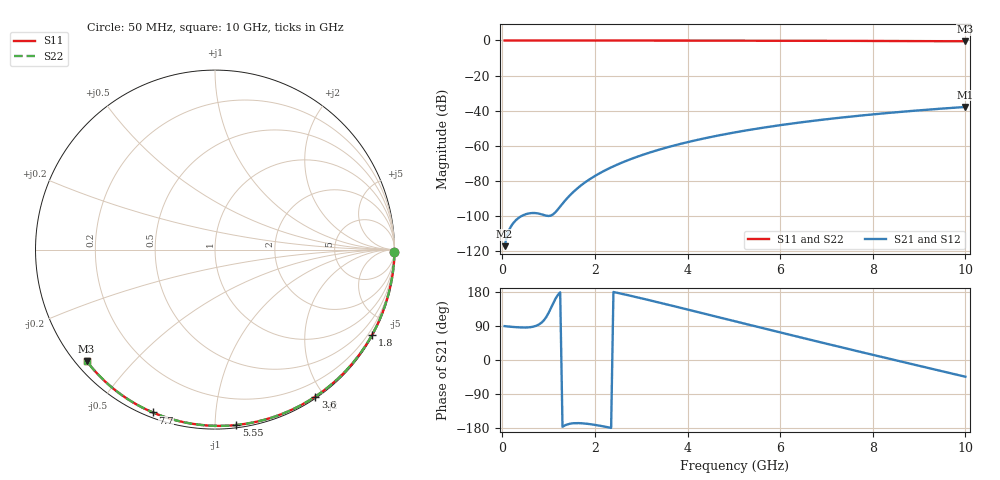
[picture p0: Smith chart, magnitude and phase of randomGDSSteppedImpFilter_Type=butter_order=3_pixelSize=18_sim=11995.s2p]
! freq	dB(S11)	phase(S11)	dB(S12)	phase(S12)
!  dB(S21)	phase(S21)	dB(S22)	phase(S22)
!S-par simulation data
#  GHz  S  DB  R 50
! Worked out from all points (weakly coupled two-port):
!   200 points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, 50 MHz to 10 GHz, reference 50 ohm
!   highest |S21| = -37.83 dB at 10 GHz (marker M1); lowest = -117.0 dB at 50 MHz (marker M2)
!   lowest |S11| = -0.5 dB at 10 GHz (marker M3), VSWR 36.81, Z = 1.55 - j18.7 ohm
!   |S11| at or under -10 dB: nowhere
!   |S22| runs from -0.5 to 0.0 dB; largest |S21 - S12| = 0
!   S11 on the Smith chart (normalised r, x): 50 MHz: open; 1.8 GHz: 0.03, -3.94; 3.6 GHz: 0.02, -1.89; 5.55 GHz: 0.02, -1.13; 7.7 GHz: 0.02, -0.69; 10 GHz: 0.03, -0.37
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0.05  -0.00 -0.8  -117.05 89.4  -117.05 89.4  -0.00 -0.8
0.45  -0.01 -7.2  -99.45 85.7  -99.45 85.7  -0.01 -7.2
0.9  -0.02 -14.4  -99.33 105.1  -99.33 105.1  -0.02 -14.4
1.75  -0.04 -27.7  -81.47 -167.3  -81.47 -167.3  -0.04 -27.7
1.8  -0.04 -28.5  -80.52 -167.9  -80.52 -167.9  -0.04 -28.5
1.85  -0.04 -29.3  -79.62 -168.6  -79.62 -168.6  -0.04 -29.3
2.05  -0.04 -32.4  -76.34 -172.2  -76.34 -172.2  -0.04 -32.4
2.25  -0.05 -35.5  -73.51 -176.8  -73.51 -176.8  -0.05 -35.5
2.55  -0.05 -40.0  -69.87 175.5  -69.87 175.5  -0.05 -40.0
2.95  -0.06 -46.1  -65.82 164.4  -65.82 164.4  -0.06 -46.1
3.4  -0.07 -52.7  -62.04 151.2  -62.04 151.2  -0.07 -52.7
3.6  -0.08 -55.7  -60.55 145.2  -60.55 145.2  -0.08 -55.7
3.9  -0.08 -60.0  -58.50 136.2  -58.50 136.2  -0.08 -60.0
4.3  -0.09 -65.8  -56.06 124.2  -56.06 124.2  -0.09 -65.8
5.05  -0.12 -76.3  -52.18 101.5  -52.18 101.5  -0.12 -76.3
5.55  -0.14 -83.1  -49.97 86.4  -49.97 86.4  -0.14 -83.1
6.1  -0.16 -90.4  -47.83 69.8  -47.83 69.8  -0.16 -90.4
6.7  -0.19 -98.2  -45.77 51.9  -45.77 51.9  -0.19 -98.2
7.7  -0.25 -110.9  -42.84 22.4  -42.84 22.4  -0.25 -110.9
8.35  -0.30 -118.9  -41.22 3.5  -41.22 3.5  -0.30 -118.9
9.2  -0.38 -129.3  -39.35 -21.1  -39.35 -21.1  -0.38 -129.3
10  -0.47 -139.0  -37.83 -44.1  -37.83 -44.1  -0.47 -139.0
